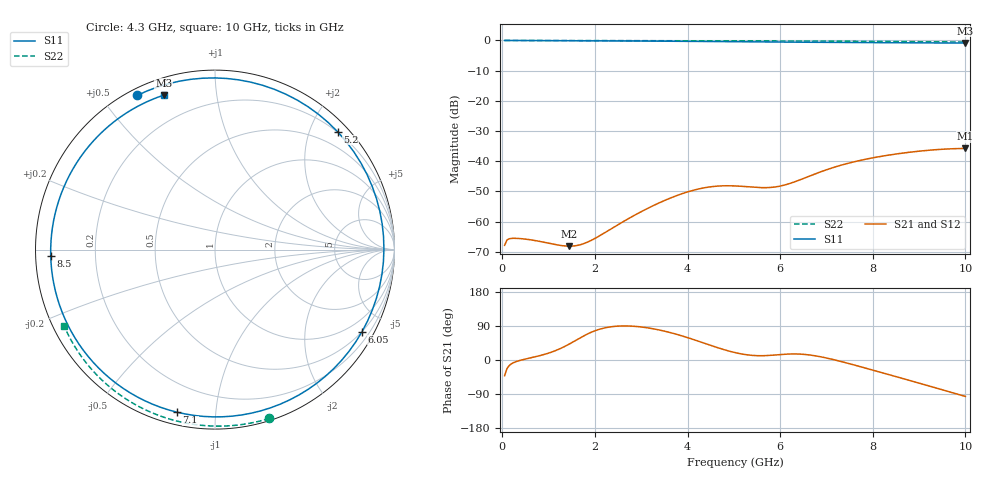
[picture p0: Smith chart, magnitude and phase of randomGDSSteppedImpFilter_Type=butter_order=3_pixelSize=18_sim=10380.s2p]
! freq	dB(S11)	phase(S11)	dB(S12)	phase(S12)
!  dB(S21)	phase(S21)	dB(S22)	phase(S22)
!S-par simulation data
#  GHz  S  DB  R 50
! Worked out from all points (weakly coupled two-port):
!   200 points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, 50 MHz to 10 GHz, reference 50 ohm
!   highest |S21| = -35.78 dB at 10 GHz (marker M1); lowest = -68.2 dB at 1.45 GHz (marker M2)
!   lowest |S11| = -0.9 dB at 10 GHz (marker M3), VSWR 20.42, Z = 3.72 + j35.9 ohm
!   |S11| at or under -10 dB: nowhere
!   |S22| runs from -0.5 to 0.0 dB; largest |S21 - S12| = 0
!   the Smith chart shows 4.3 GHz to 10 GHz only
!   S11 on the Smith chart (normalised r, x): 4.3 GHz: 0.03, +0.61; 5.2 GHz: 0.19, +2.47; 6.05 GHz: 0.50, -3.78; 7.1 GHz: 0.06, -0.79; 8.5 GHz: 0.04, -0.02; 10 GHz: 0.07, +0.72
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0.05  -0.00 -2.9  -67.89 -41.4  -67.89 -41.4  -0.00 -0.9
0.2  -0.00 -11.4  -65.58 -9.9  -65.58 -9.9  -0.00 -3.6
0.8  -0.05 -45.1  -66.55 11.2  -66.55 11.2  -0.02 -14.1
1.45  -0.10 -80.3  -68.16 42.4  -68.16 42.4  -0.03 -25.4
1.75  -0.12 -96.2  -67.37 63.1  -67.37 63.1  -0.04 -30.5
2.65  -0.17 -143.3  -59.68 89.9  -59.68 89.9  -0.06 -45.7
3.4  -0.23 175.3  -53.73 79.0  -53.73 79.0  -0.08 -57.9
3.85  -0.28 147.7  -50.94 64.8  -50.94 64.8  -0.09 -65.1
4.3  -0.33 116.8  -49.00 46.9  -49.00 46.9  -0.10 -72.1
4.7  -0.39 86.1  -48.21 30.6  -48.21 30.6  -0.12 -78.3
5.05  -0.45 56.9  -48.22 18.8  -48.22 18.8  -0.13 -83.6
5.2  -0.47 43.9  -48.36 15.2  -48.36 15.2  -0.13 -85.8
5.6  -0.52 8.8  -48.77 11.3  -48.77 11.3  -0.15 -91.7
6.05  -0.55 -29.2  -48.08 14.8  -48.08 14.8  -0.17 -98.2
6.4  -0.58 -56.3  -46.34 15.7  -46.34 15.7  -0.19 -103.3
6.7  -0.60 -77.5  -44.54 12.2  -44.54 12.2  -0.21 -107.5
7.1  -0.63 -103.2  -42.34 2.5  -42.34 2.5  -0.24 -113.1
7.75  -0.69 -139.9  -39.67 -18.2  -39.67 -18.2  -0.28 -122.1
8.35  -0.75 -170.5  -37.97 -38.6  -37.97 -38.6  -0.33 -130.3
8.5  -0.76 -177.9  -37.63 -43.8  -37.63 -43.8  -0.35 -132.4
9.2  -0.82 147.8  -36.39 -68.0  -36.39 -68.0  -0.42 -141.9
10  -0.85 108.4  -35.78 -96.2  -35.78 -96.2  -0.52 -153.0
